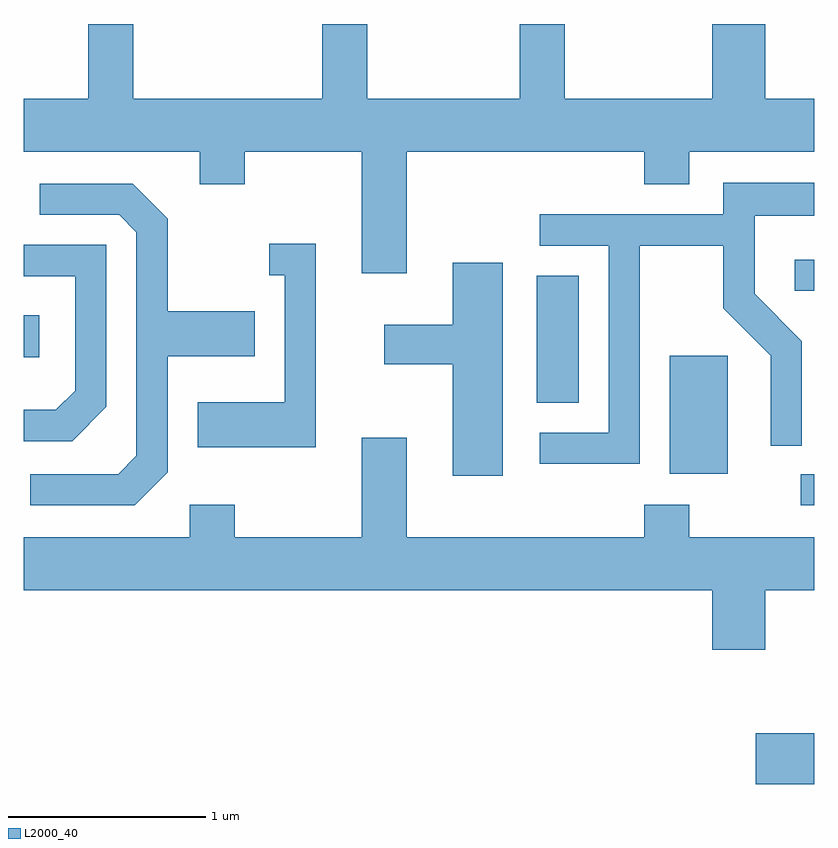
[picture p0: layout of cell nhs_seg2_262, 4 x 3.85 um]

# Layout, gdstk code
import gdstk
lib = gdstk.Library(unit=1e-6, precision=1e-09)
def R(c, l, rs):  # rectangles x0, y0, x1, y1
    for r in rs: c.add(gdstk.rectangle(r[:2], r[2:], *l))
def P(c, l, *ps):  # polygons
    for p in ps: c.add(gdstk.Polygon(p, *l))
L2000_40 = (2000, 40)

nhs_seg2_262 = lib.new_cell('nhs_seg2_262')
R(nhs_seg2_262, L2000_40, [(195.316,1093.956,195.611,1094.214), (195.543,1095.366,195.611,1095.524), (194.881,1095.526,195.174,1096.124), (194.206,1095.886,194.419,1096.529), (191.611,1096.116,191.689,1096.329), (195.513,1096.451,195.611,1096.609)])
P(nhs_seg2_262, L2000_40, [(193.549,1097.156),(194.751,1097.156),(194.751,1096.991),(194.979,1096.991),(194.979,1097.156),(195.611,1097.156),(195.611,1097.424),(195.364,1097.424),(195.364,1097.802),(195.096,1097.802),(195.096,1097.424),(194.349,1097.424),(194.349,1097.802),(194.121,1097.802),(194.121,1097.424),(193.349,1097.424),(193.349,1097.802),(193.121,1097.802),(193.121,1097.424),(192.164,1097.424),(192.164,1097.802),(191.936,1097.802),(191.936,1097.424),(191.611,1097.424),(191.611,1097.156),(192.501,1097.156),(192.501,1096.991),(192.729,1096.991),(192.729,1097.156),(193.321,1097.156),(193.321,1096.541),(193.549,1096.541)],
  [(194.729,1096.681),(195.151,1096.681),(195.151,1096.364),(195.391,1096.124),(195.391,1095.668),(195.549,1095.668),(195.549,1096.197),(195.309,1096.437),(195.309,1096.831),(195.611,1096.831),(195.611,1096.999),(195.151,1096.999),(195.151,1096.839),(194.223,1096.839),(194.223,1096.681),(194.571,1096.681),(194.571,1095.734),(194.223,1095.734),(194.223,1095.576),(194.729,1095.576)],
  [(192.339,1095.534),(192.339,1096.121),(192.779,1096.121),(192.779,1096.349),(192.339,1096.349),(192.339,1096.817),(192.162,1096.994),(191.693,1096.994),(191.693,1096.836),(192.094,1096.836),(192.181,1096.749),(192.181,1095.617),(192.089,1095.524),(191.643,1095.524),(191.643,1095.366),(192.172,1095.366)],
  [(193.089,1096.689),(192.853,1096.689),(192.853,1096.531),(192.931,1096.531),(192.931,1095.889),(192.491,1095.889),(192.491,1095.661),(193.089,1095.661)],
  [(192.029,1095.864),(192.029,1096.684),(191.611,1096.684),(191.611,1096.526),(191.871,1096.526),(191.871,1095.947),(191.774,1095.849),(191.611,1095.849),(191.611,1095.691),(191.857,1095.691)],
  [(194.034,1096.594),(193.781,1096.594),(193.781,1096.279),(193.436,1096.279),(193.436,1096.081),(193.781,1096.081),(193.781,1095.516),(194.034,1095.516)],
  [(195.364,1094.936),(195.611,1094.936),(195.611,1095.204),(194.979,1095.204),(194.979,1095.369),(194.751,1095.369),(194.751,1095.204),(193.549,1095.204),(193.549,1095.709),(193.321,1095.709),(193.321,1095.204),(192.679,1095.204),(192.679,1095.369),(192.451,1095.369),(192.451,1095.204),(191.611,1095.204),(191.611,1094.936),(195.096,1094.936),(195.096,1094.636),(195.364,1094.636)])

lib.write_gds('nhs_seg2_262.gds')
